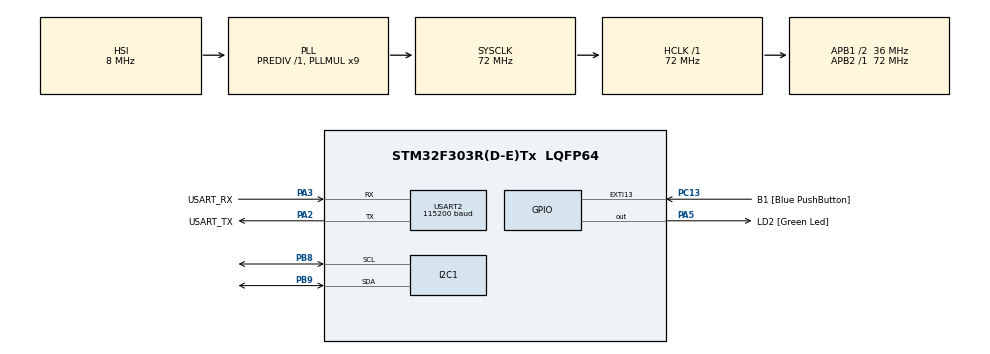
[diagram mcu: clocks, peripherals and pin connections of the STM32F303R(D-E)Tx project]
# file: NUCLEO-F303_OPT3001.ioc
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I2C1.Timing=0x00201D2B
Mcu.Family=STM32F3
Mcu.Name=STM32F303R(D-E)Tx
Mcu.Package=LQFP64
NVIC.PriorityGroup=NVIC_PRIORITYGROUP_0
PA13.GPIO_Label=TMS
PA13.Mode=Serial_Wire
PA13.Signal=SYS_JTMS-SWDIO
PA14.GPIO_Label=TCK
PA14.Mode=Serial_Wire
PA14.Signal=SYS_JTCK-SWCLK
PA2.GPIO_Label=USART_TX
PA2.GPIO_Mode=GPIO_MODE_AF_PP
PA2.GPIO_PuPd=GPIO_NOPULL
PA2.GPIO_Speed=GPIO_SPEED_FREQ_LOW
PA2.Mode=Asynchronous
PA2.Signal=USART2_TX
PA3.GPIO_Label=USART_RX
PA3.GPIO_Mode=GPIO_MODE_AF_PP
PA3.GPIO_PuPd=GPIO_NOPULL
PA3.GPIO_Speed=GPIO_SPEED_FREQ_LOW
PA3.Mode=Asynchronous
PA3.Signal=USART2_RX
PA5.GPIO_Label=LD2 [Green Led]
PA5.GPIO_Mode=GPIO_MODE_OUTPUT_PP
PA5.GPIO_PuPd=GPIO_NOPULL
PA5.GPIO_Speed=GPIO_SPEED_FREQ_LOW
PA5.Signal=GPIO_Output
PB3.GPIO_Label=SWO
PB3.Signal=SYS_JTDO-TRACESWO
PB8.Mode=I2C
PB8.Signal=I2C1_SCL
PB9.Mode=I2C
PB9.Signal=I2C1_SDA
PC13.GPIO_Label=B1 [Blue PushButton]
PC13.GPIO_ModeDefaultEXTI=GPIO_MODE_IT_FALLING
PC13.Signal=GPXTI13
PC14-OSC32_IN.Mode=LSE-External-Oscillator
PC14-OSC32_IN.Signal=RCC_OSC32_IN
PC15-OSC32_OUT.Mode=LSE-External-Oscillator
PC15-OSC32_OUT.Signal=RCC_OSC32_OUT
PF0-OSC_IN.Mode=HSE-External-Clock-Source
PF0-OSC_IN.Signal=RCC_OSC_IN
PF1-OSC_OUT.Signal=RCC_OSC_OUT
ProjectManager.HeapSize=0x200
ProjectManager.StackSize=0x400
ProjectManager.TargetToolchain=CMake
RCC.AHBFreq_Value=72000000
RCC.APB1CLKDivider=RCC_HCLK_DIV2
RCC.APB1Freq_Value=36000000
RCC.APB1TimFreq_Value=72000000
RCC.APB2Freq_Value=72000000
RCC.APB2TimFreq_Value=72000000
RCC.CortexFreq_Value=72000000
RCC.HCLKFreq_Value=72000000
RCC.HSE_VALUE=8000000
RCC.HSI_VALUE=8000000
RCC.PLLM=8
RCC.PLLMUL=RCC_PLL_MUL9
RCC.PLLN=336
RCC.PLLP=RCC_PLLP_DIV4
RCC.PLLQ=7
RCC.RCC_PLLsource_Clock_Source_FROM_HSE=RCC_HSE_PREDIV_DIV2
RCC.SYSCLKFreq_VALUE=72000000
RCC.SYSCLKSourceVirtual=RCC_SYSCLKSOURCE_PLLCLK
RCC.USBFreq_Value=72000000
USART2.BaudRate=115200
USART2.VirtualMode-Asynchronous=VM_ASYNC
board=NUCLEO-F303RE

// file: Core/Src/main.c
/* USER CODE BEGIN Header */
/**
  ******************************************************************************
  * @file           : main.c
  * @brief          : Main program body
  ******************************************************************************
  * @attention
  *
  * Copyright (c) 2026 STMicroelectronics.
  * All rights reserved.
  *
  * This software is licensed under terms that can be found in the LICENSE file
  * in the root directory of this software component.
  * If no LICENSE file comes with this software, it is provided AS-IS.
  *
  ******************************************************************************
  */
/* USER CODE END Header */
#include "main.h"
#include "stm32f3xx_hal.h"

/* USER CODE BEGIN Includes */
#include <string.h>
#include <stdio.h>
#include <OPT3001.h>
/* USER CODE END Includes */

/* USER CODE BEGIN PTD */
OPT3001_HandleTypeDef opt3001;
/* USER CODE END PTD */

I2C_HandleTypeDef hi2c1;

UART_HandleTypeDef huart2;

/* USER CODE BEGIN PV */
char msg[50];

static double lowLimit     = 100.0;
static double highLimit    = 2000.0;

static double lux          = 0.0;

_Bool isDataReady = 0;
/* USER CODE END PV */

void SystemClock_Config(void);
static void MX_GPIO_Init(void);
static void MX_USART2_UART_Init(void);
static void MX_I2C1_Init(void);

int main(void)
{

  /* MCU Configuration--------------------------------------------------------*/

  /* Reset of all peripherals, Initializes the Flash interface and the Systick. */
  HAL_Init();

  /* Configure the system clock */
  SystemClock_Config();

  /* Initialize all configured peripherals */
  MX_GPIO_Init();
  MX_USART2_UART_Init();
  MX_I2C1_Init();
  /* USER CODE BEGIN 2 */
  OPT3001_Init(&opt3001, &hi2c1, OPT3001_ADDRESS);
  OPT3001_SetLowLimit(&opt3001, lowLimit);
  OPT3001_SetHighLimit(&opt3001, highLimit);
  /* USER CODE END 2 */

  /* Infinite loop */
  /* USER CODE BEGIN WHILE */
  while (1)
  {
    isDataReady = OPT3001_IsConversionReady(&opt3001);

    if (isDataReady)
    {
      lux = OPT3001_GetLux(&opt3001);
      sprintf(msg, "Lux = %.2f \r\n", lux);
	    HAL_UART_Transmit(&huart2, (uint8_t*)msg, strlen(msg), HAL_MAX_DELAY);
    }

    /* USER CODE END WHILE */

  }
}

void SystemClock_Config(void)
{
  RCC_OscInitTypeDef RCC_OscInitStruct = {0};
  RCC_ClkInitTypeDef RCC_ClkInitStruct = {0};
  RCC_PeriphCLKInitTypeDef PeriphClkInit = {0};

  /** Initializes the RCC Oscillators according to the specified parameters
  * in the RCC_OscInitTypeDef structure.
  */
  RCC_OscInitStruct.OscillatorType = RCC_OSCILLATORTYPE_HSI;
  RCC_OscInitStruct.HSIState = RCC_HSI_ON;
  RCC_OscInitStruct.HSICalibrationValue = RCC_HSICALIBRATION_DEFAULT;
  RCC_OscInitStruct.PLL.PLLState = RCC_PLL_ON;
  RCC_OscInitStruct.PLL.PLLSource = RCC_PLLSOURCE_HSI;
  RCC_OscInitStruct.PLL.PLLMUL = RCC_PLL_MUL9;
  RCC_OscInitStruct.PLL.PREDIV = RCC_PREDIV_DIV1;
  if (HAL_RCC_OscConfig(&RCC_OscInitStruct) != HAL_OK)
  {
    Error_Handler();
  }

  /** Initializes the CPU, AHB and APB buses clocks
  */
  RCC_ClkInitStruct.ClockType = RCC_CLOCKTYPE_HCLK|RCC_CLOCKTYPE_SYSCLK
                              |RCC_CLOCKTYPE_PCLK1|RCC_CLOCKTYPE_PCLK2;
  RCC_ClkInitStruct.SYSCLKSource = RCC_SYSCLKSOURCE_PLLCLK;
  RCC_ClkInitStruct.AHBCLKDivider = RCC_SYSCLK_DIV1;
  RCC_ClkInitStruct.APB1CLKDivider = RCC_HCLK_DIV2;
  RCC_ClkInitStruct.APB2CLKDivider = RCC_HCLK_DIV1;

  if (HAL_RCC_ClockConfig(&RCC_ClkInitStruct, FLASH_LATENCY_2) != HAL_OK)
  {
    Error_Handler();
  }
  PeriphClkInit.PeriphClockSelection = RCC_PERIPHCLK_USART2|RCC_PERIPHCLK_I2C1;
  PeriphClkInit.Usart2ClockSelection = RCC_USART2CLKSOURCE_PCLK1;
  PeriphClkInit.I2c1ClockSelection = RCC_I2C1CLKSOURCE_HSI;
  if (HAL_RCCEx_PeriphCLKConfig(&PeriphClkInit) != HAL_OK)
  {
    Error_Handler();
  }
}

static void MX_I2C1_Init(void)
{

  hi2c1.Instance = I2C1;
  hi2c1.Init.Timing = 0x00201D2B;
  hi2c1.Init.OwnAddress1 = 0;
  hi2c1.Init.AddressingMode = I2C_ADDRESSINGMODE_7BIT;
  hi2c1.Init.DualAddressMode = I2C_DUALADDRESS_DISABLE;
  hi2c1.Init.OwnAddress2 = 0;
  hi2c1.Init.OwnAddress2Masks = I2C_OA2_NOMASK;
  hi2c1.Init.GeneralCallMode = I2C_GENERALCALL_DISABLE;
  hi2c1.Init.NoStretchMode = I2C_NOSTRETCH_DISABLE;
  if (HAL_I2C_Init(&hi2c1) != HAL_OK)
  {
    Error_Handler();
  }

  /** Configure Analogue filter
  */
  if (HAL_I2CEx_ConfigAnalogFilter(&hi2c1, I2C_ANALOGFILTER_ENABLE) != HAL_OK)
  {
    Error_Handler();
  }

  /** Configure Digital filter
  */
  if (HAL_I2CEx_ConfigDigitalFilter(&hi2c1, 0) != HAL_OK)
  {
    Error_Handler();
  }

}

static void MX_USART2_UART_Init(void)
{

  huart2.Instance = USART2;
  huart2.Init.BaudRate = 115200;
  huart2.Init.WordLength = UART_WORDLENGTH_8B;
  huart2.Init.StopBits = UART_STOPBITS_1;
  huart2.Init.Parity = UART_PARITY_NONE;
  huart2.Init.Mode = UART_MODE_TX_RX;
  huart2.Init.HwFlowCtl = UART_HWCONTROL_NONE;
  huart2.Init.OverSampling = UART_OVERSAMPLING_16;
  huart2.Init.OneBitSampling = UART_ONE_BIT_SAMPLE_DISABLE;
  huart2.AdvancedInit.AdvFeatureInit = UART_ADVFEATURE_NO_INIT;
  if (HAL_UART_Init(&huart2) != HAL_OK)
  {
    Error_Handler();
  }

}

static void MX_GPIO_Init(void)
{
  GPIO_InitTypeDef GPIO_InitStruct = {0};

  /* GPIO Ports Clock Enable */
  __HAL_RCC_GPIOC_CLK_ENABLE();
  __HAL_RCC_GPIOF_CLK_ENABLE();
  __HAL_RCC_GPIOA_CLK_ENABLE();
  __HAL_RCC_GPIOB_CLK_ENABLE();

  /*Configure GPIO pin Output Level */
  HAL_GPIO_WritePin(LD2_GPIO_Port, LD2_Pin, GPIO_PIN_RESET);

  /*Configure GPIO pin : B1_Pin */
  GPIO_InitStruct.Pin = B1_Pin;
  GPIO_InitStruct.Mode = GPIO_MODE_IT_FALLING;
  GPIO_InitStruct.Pull = GPIO_NOPULL;
  HAL_GPIO_Init(B1_GPIO_Port, &GPIO_InitStruct);

  /*Configure GPIO pin : LD2_Pin */
  GPIO_InitStruct.Pin = LD2_Pin;
  GPIO_InitStruct.Mode = GPIO_MODE_OUTPUT_PP;
  GPIO_InitStruct.Pull = GPIO_NOPULL;
  GPIO_InitStruct.Speed = GPIO_SPEED_FREQ_LOW;
  HAL_GPIO_Init(LD2_GPIO_Port, &GPIO_InitStruct);

}

void Error_Handler(void)
{
  __disable_irq();
  while (1)
  {
  }
}
